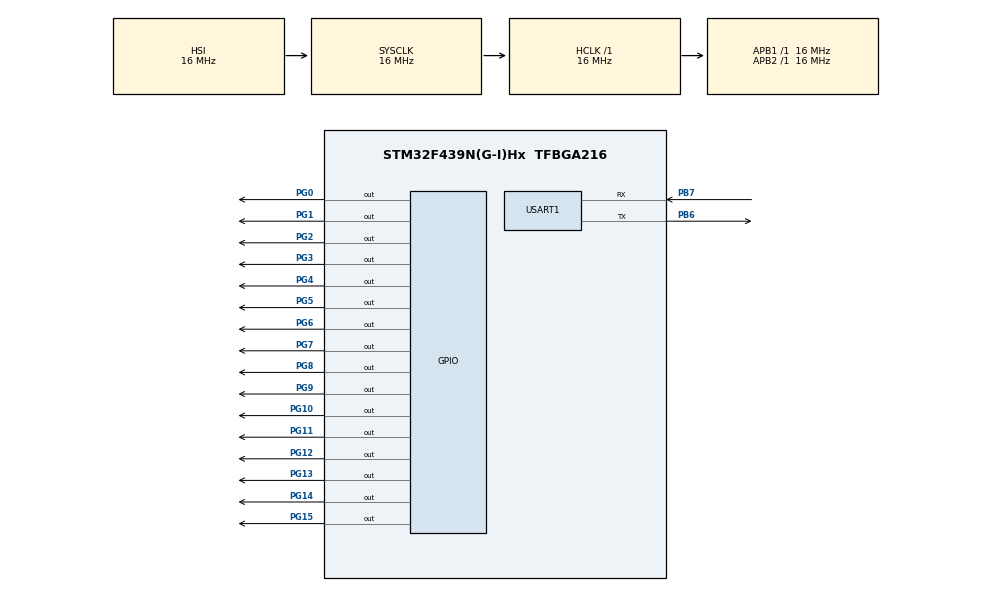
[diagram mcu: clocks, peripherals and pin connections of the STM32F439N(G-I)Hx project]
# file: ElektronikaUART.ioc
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FREERTOS.Tasks01=defaultTask,0,128,StartDefaultTask,Default,NULL
Mcu.Family=STM32F4
Mcu.Name=STM32F439N(G-I)Hx
Mcu.Package=TFBGA216
NVIC.PriorityGroup=NVIC_PRIORITYGROUP_4
PB6.Mode=Asynchronous
PB6.Signal=USART1_TX
PB7.Mode=Asynchronous
PB7.Signal=USART1_RX
PG0.Signal=GPIO_Output
PG1.Signal=GPIO_Output
PG10.Signal=GPIO_Output
PG11.Signal=GPIO_Output
PG12.Signal=GPIO_Output
PG13.Signal=GPIO_Output
PG14.Signal=GPIO_Output
PG15.Signal=GPIO_Output
PG2.Signal=GPIO_Output
PG3.Signal=GPIO_Output
PG4.Signal=GPIO_Output
PG5.Signal=GPIO_Output
PG6.Signal=GPIO_Output
PG7.Signal=GPIO_Output
PG8.Signal=GPIO_Output
PG9.Signal=GPIO_Output
ProjectManager.HeapSize=0x200
ProjectManager.StackSize=0x400
ProjectManager.TargetToolchain=EWARM
RCC.AHBFreq_Value=16000000
RCC.APB1Freq_Value=16000000
RCC.APB2Freq_Value=16000000
RCC.CortexFreq_Value=16000000
RCC.HSE_VALUE=25000000
RCC.HSI_VALUE=16000000
RCC.LSE_VALUE=32768
RCC.SYSCLKFreq_VALUE=16000000
RCC.VCOOutputFreq_Value=192000000
USART1.VirtualMode=VM_ASYNC
VP_FREERTOS_VS_ENABLE.Mode=Enabled
board=ElektronikaUART

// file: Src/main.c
/**
  ******************************************************************************
  * File Name          : main.c
  * Description        : Main program body
  ******************************************************************************
  * This notice applies to any and all portions of this file
  * that are not between comment pairs USER CODE BEGIN and
  * USER CODE END. Other portions of this file, whether
  * inserted by the user or by software development tools
  * are owned by their respective copyright owners.
  *
  * Copyright (c) 2017 STMicroelectronics International N.V.
  * All rights reserved.
  *
  * Redistribution and use in source and binary forms, with or without
  * modification, are permitted, provided that the following conditions are met:
  *
  * 1. Redistribution of source code must retain the above copyright notice,
  *    this list of conditions and the following disclaimer.
  * 2. Redistributions in binary form must reproduce the above copyright notice,
  *    this list of conditions and the following disclaimer in the documentation
  *    and/or other materials provided with the distribution.
  * 3. Neither the name of STMicroelectronics nor the names of other
  *    contributors to this software may be used to endorse or promote products
  *    derived from this software without specific written permission.
  * 4. This software, including modifications and/or derivative works of this
  *    software, must execute solely and exclusively on microcontroller or
  *    microprocessor devices manufactured by or for STMicroelectronics.
  * 5. Redistribution and use of this software other than as permitted under
  *    this license is void and will automatically terminate your rights under
  *    this license.
  *
  * THIS SOFTWARE IS PROVIDED BY STMICROELECTRONICS AND CONTRIBUTORS "AS IS"
  * AND ANY EXPRESS, IMPLIED OR STATUTORY WARRANTIES, INCLUDING, BUT NOT
  * LIMITED TO, THE IMPLIED WARRANTIES OF MERCHANTABILITY, FITNESS FOR A
  * PARTICULAR PURPOSE AND NON-INFRINGEMENT OF THIRD PARTY INTELLECTUAL PROPERTY
  * RIGHTS ARE DISCLAIMED TO THE FULLEST EXTENT PERMITTED BY LAW. IN NO EVENT
  * SHALL STMICROELECTRONICS OR CONTRIBUTORS BE LIABLE FOR ANY DIRECT, INDIRECT,
  * INCIDENTAL, SPECIAL, EXEMPLARY, OR CONSEQUENTIAL DAMAGES (INCLUDING, BUT NOT
  * LIMITED TO, PROCUREMENT OF SUBSTITUTE GOODS OR SERVICES; LOSS OF USE, DATA,
  * OR PROFITS; OR BUSINESS INTERRUPTION) HOWEVER CAUSED AND ON ANY THEORY OF
  * LIABILITY, WHETHER IN CONTRACT, STRICT LIABILITY, OR TORT (INCLUDING
  * NEGLIGENCE OR OTHERWISE) ARISING IN ANY WAY OUT OF THE USE OF THIS SOFTWARE,
  * EVEN IF ADVISED OF THE POSSIBILITY OF SUCH DAMAGE.
  *
  ******************************************************************************
  */
#include "main.h"
#include "stm32f4xx_hal.h"
#include "cmsis_os.h"

UART_HandleTypeDef huart1;

osThreadId defaultTaskHandle;

/* USER CODE BEGIN PV */
/* Private variables ---------------------------------------------------------*/
uint8_t RxBuffer[1],preamble1,preamble2,trailer,redniBrojGPIO, stanjeLSB;

/* USER CODE END PV */

void SystemClock_Config(void);
static void MX_GPIO_Init(void);
static void MX_USART1_UART_Init(void);
void StartDefaultTask(void const * argument);

/* USER CODE BEGIN PFP */
/* Private function prototypes -----------------------------------------------*/

/* USER CODE END PFP */

int main(void)
{

  /* MCU Configuration----------------------------------------------------------*/

  /* Reset of all peripherals, Initializes the Flash interface and the Systick. */
  HAL_Init();

  /* Configure the system clock */
  SystemClock_Config();

  /* Initialize all configured peripherals */
  MX_GPIO_Init();
  MX_USART1_UART_Init();

  /* Create the thread(s) */
  /* definition and creation of defaultTask */
  osThreadDef(defaultTask, StartDefaultTask, osPriorityNormal, 0, 128);
  defaultTaskHandle = osThreadCreate(osThread(defaultTask), NULL);

  /* Start scheduler */
  osKernelStart();

  /* We should never get here as control is now taken by the scheduler */

  /* Infinite loop */
  while (1)
  {
  }

}

/** System Clock Configuration
*/
void SystemClock_Config(void)
{

  RCC_OscInitTypeDef RCC_OscInitStruct;
  RCC_ClkInitTypeDef RCC_ClkInitStruct;

    /**Configure the main internal regulator output voltage
    */
  __HAL_RCC_PWR_CLK_ENABLE();

  __HAL_PWR_VOLTAGESCALING_CONFIG(PWR_REGULATOR_VOLTAGE_SCALE3);

    /**Initializes the CPU, AHB and APB busses clocks
    */
  RCC_OscInitStruct.OscillatorType = RCC_OSCILLATORTYPE_HSI;
  RCC_OscInitStruct.HSIState = RCC_HSI_ON;
  RCC_OscInitStruct.HSICalibrationValue = 16;
  RCC_OscInitStruct.PLL.PLLState = RCC_PLL_NONE;
  if (HAL_RCC_OscConfig(&RCC_OscInitStruct) != HAL_OK)
  {
    _Error_Handler(__FILE__, __LINE__);
  }

    /**Initializes the CPU, AHB and APB busses clocks
    */
  RCC_ClkInitStruct.ClockType = RCC_CLOCKTYPE_HCLK|RCC_CLOCKTYPE_SYSCLK
                              |RCC_CLOCKTYPE_PCLK1|RCC_CLOCKTYPE_PCLK2;
  RCC_ClkInitStruct.SYSCLKSource = RCC_SYSCLKSOURCE_HSI;
  RCC_ClkInitStruct.AHBCLKDivider = RCC_SYSCLK_DIV1;
  RCC_ClkInitStruct.APB1CLKDivider = RCC_HCLK_DIV1;
  RCC_ClkInitStruct.APB2CLKDivider = RCC_HCLK_DIV1;

  if (HAL_RCC_ClockConfig(&RCC_ClkInitStruct, FLASH_LATENCY_0) != HAL_OK)
  {
    _Error_Handler(__FILE__, __LINE__);
  }

    /**Configure the Systick interrupt time
    */
  HAL_SYSTICK_Config(HAL_RCC_GetHCLKFreq()/1000);

    /**Configure the Systick
    */
  HAL_SYSTICK_CLKSourceConfig(SYSTICK_CLKSOURCE_HCLK);

  /* SysTick_IRQn interrupt configuration */
  HAL_NVIC_SetPriority(SysTick_IRQn, 15, 0);
}

/* USART1 init function */
static void MX_USART1_UART_Init(void)
{

  huart1.Instance = USART1;
  huart1.Init.BaudRate = 115200;
  huart1.Init.WordLength = UART_WORDLENGTH_8B;
  huart1.Init.StopBits = UART_STOPBITS_1;
  huart1.Init.Parity = UART_PARITY_NONE;
  huart1.Init.Mode = UART_MODE_TX_RX;
  huart1.Init.HwFlowCtl = UART_HWCONTROL_NONE;
  huart1.Init.OverSampling = UART_OVERSAMPLING_16;
  if (HAL_UART_Init(&huart1) != HAL_OK)
  {
    _Error_Handler(__FILE__, __LINE__);
  }

}

/** Configure pins as
        * Analog
        * Input
        * Output
        * EVENT_OUT
        * EXTI
*/
static void MX_GPIO_Init(void)
{

  GPIO_InitTypeDef GPIO_InitStruct;

  /* GPIO Ports Clock Enable */
  __HAL_RCC_GPIOG_CLK_ENABLE();
  __HAL_RCC_GPIOB_CLK_ENABLE();

  /*Configure GPIO pin Output Level */
  HAL_GPIO_WritePin(GPIOG, GPIO_PIN_14|GPIO_PIN_13|GPIO_PIN_15|GPIO_PIN_11
                          |GPIO_PIN_12|GPIO_PIN_10|GPIO_PIN_9|GPIO_PIN_8
                          |GPIO_PIN_7|GPIO_PIN_6|GPIO_PIN_1|GPIO_PIN_3
                          |GPIO_PIN_2|GPIO_PIN_0|GPIO_PIN_5|GPIO_PIN_4, GPIO_PIN_RESET);

  /*Configure GPIO pins : PG14 PG13 PG15 PG11
                           PG12 PG10 PG9 PG8
                           PG7 PG6 PG1 PG3
                           PG2 PG0 PG5 PG4 */
  GPIO_InitStruct.Pin = GPIO_PIN_14|GPIO_PIN_13|GPIO_PIN_15|GPIO_PIN_11
                          |GPIO_PIN_12|GPIO_PIN_10|GPIO_PIN_9|GPIO_PIN_8
                          |GPIO_PIN_7|GPIO_PIN_6|GPIO_PIN_1|GPIO_PIN_3
                          |GPIO_PIN_2|GPIO_PIN_0|GPIO_PIN_5|GPIO_PIN_4;
  GPIO_InitStruct.Mode = GPIO_MODE_OUTPUT_PP;
  GPIO_InitStruct.Pull = GPIO_NOPULL;
  GPIO_InitStruct.Speed = GPIO_SPEED_FREQ_LOW;
  HAL_GPIO_Init(GPIOG, &GPIO_InitStruct);

}

/* StartDefaultTask function */
void StartDefaultTask(void const * argument)
{

  /* USER CODE BEGIN 5 */
  preamble1=0xAA;
  preamble2=0x55;
  trailer=0xEE;
  /* Infinite loop */
  for(;;)
  {
    HAL_UART_Receive(&huart1, (uint8_t*)RxBuffer, 1,  50);//cita se samo jedan bajt

  if(preamble1 ^ RxBuffer[0])//ukoliko se razlikuju vrace se na pocetak petlje
      continue;
  else{                      //ukoliko su jednaki cita se naredni bajt i ispituje sa preamble2
      HAL_UART_Receive(&huart1, (uint8_t*)RxBuffer, 1, 50);
      if(preamble2 ^ RxBuffer[0])//ukoliko se razlikuju vrace se na pocetak petlje
        continue;
      else{                     //ukoliko su jednaki citaju se naredna dva bajta i bajt po bajt i ;uvaju se informacije
        HAL_UART_Receive(&huart1, (uint8_t*)RxBuffer, 1,  50);
        redniBrojGPIO=RxBuffer[0];
        HAL_UART_Receive(&huart1, (uint8_t*)RxBuffer, 1,  50);
        stanjeLSB=0x01&RxBuffer[0];
        HAL_UART_Receive(&huart1, (uint8_t*)RxBuffer, 1,  50);
        if(trailer ^ RxBuffer[0])//ukoliko se razlikuju vrace se na pocetak petlje i sve pada u vodu, poruka je ipak lažna
        continue;
        else {                  //ukoliko su jednaki poruka je ta;na i pristupa se dodeljivanju vrednosti pina
          if(stanjeLSB){
          switch(redniBrojGPIO){
          case 0: HAL_GPIO_WritePin(GPIOG, GPIO_PIN_0, GPIO_PIN_SET); break;
          case 1: HAL_GPIO_WritePin(GPIOG, GPIO_PIN_0, GPIO_PIN_SET); break;
          case 2: HAL_GPIO_WritePin(GPIOG, GPIO_PIN_0, GPIO_PIN_SET); break;
          case 3: HAL_GPIO_WritePin(GPIOG, GPIO_PIN_0, GPIO_PIN_SET); break;
          case 4: HAL_GPIO_WritePin(GPIOG, GPIO_PIN_0, GPIO_PIN_SET); break;
          case 5: HAL_GPIO_WritePin(GPIOG, GPIO_PIN_0, GPIO_PIN_SET); break;
          case 6: HAL_GPIO_WritePin(GPIOG, GPIO_PIN_0, GPIO_PIN_SET); break;
          case 7: HAL_GPIO_WritePin(GPIOG, GPIO_PIN_0, GPIO_PIN_SET); break;
          case 8: HAL_GPIO_WritePin(GPIOG, GPIO_PIN_0, GPIO_PIN_SET); break;
          case 9: HAL_GPIO_WritePin(GPIOG, GPIO_PIN_0, GPIO_PIN_SET); break;
          case 10: HAL_GPIO_WritePin(GPIOG, GPIO_PIN_0, GPIO_PIN_SET); break;
          case 11: HAL_GPIO_WritePin(GPIOG, GPIO_PIN_0, GPIO_PIN_SET); break;
          case 12: HAL_GPIO_WritePin(GPIOG, GPIO_PIN_0, GPIO_PIN_SET); break;
          case 13: HAL_GPIO_WritePin(GPIOG, GPIO_PIN_0, GPIO_PIN_SET); break;
          case 14: HAL_GPIO_WritePin(GPIOG, GPIO_PIN_0, GPIO_PIN_SET); break;
          case 15: HAL_GPIO_WritePin(GPIOG, GPIO_PIN_0, GPIO_PIN_SET); break;
          default: break;//ukoliko nije nijedan od postojecih GPIO pinova poruka se ignorise
          }
          }
          else{
          switch(redniBrojGPIO){
          case 0: HAL_GPIO_WritePin(GPIOG, GPIO_PIN_0, GPIO_PIN_RESET); break;
          case 1: HAL_GPIO_WritePin(GPIOG, GPIO_PIN_0, GPIO_PIN_RESET); break;
          case 2: HAL_GPIO_WritePin(GPIOG, GPIO_PIN_0, GPIO_PIN_RESET); break;
          case 3: HAL_GPIO_WritePin(GPIOG, GPIO_PIN_0, GPIO_PIN_RESET); break;
          case 4: HAL_GPIO_WritePin(GPIOG, GPIO_PIN_0, GPIO_PIN_RESET); break;
          case 5: HAL_GPIO_WritePin(GPIOG, GPIO_PIN_0, GPIO_PIN_RESET); break;
          case 6: HAL_GPIO_WritePin(GPIOG, GPIO_PIN_0, GPIO_PIN_RESET); break;
          case 7: HAL_GPIO_WritePin(GPIOG, GPIO_PIN_0, GPIO_PIN_RESET); break;
          case 8: HAL_GPIO_WritePin(GPIOG, GPIO_PIN_0, GPIO_PIN_RESET); break;
          case 9: HAL_GPIO_WritePin(GPIOG, GPIO_PIN_0, GPIO_PIN_RESET); break;
          case 10: HAL_GPIO_WritePin(GPIOG, GPIO_PIN_0, GPIO_PIN_RESET); break;
          case 11: HAL_GPIO_WritePin(GPIOG, GPIO_PIN_0, GPIO_PIN_RESET); break;
          case 12: HAL_GPIO_WritePin(GPIOG, GPIO_PIN_0, GPIO_PIN_RESET); break;
          case 13: HAL_GPIO_WritePin(GPIOG, GPIO_PIN_0, GPIO_PIN_RESET); break;
          case 14: HAL_GPIO_WritePin(GPIOG, GPIO_PIN_0, GPIO_PIN_RESET); break;
          case 15: HAL_GPIO_WritePin(GPIOG, GPIO_PIN_0, GPIO_PIN_RESET); break;
          default: break;//ukoliko nije nijedan od postojecih GPIO pinova poruka se ignorise
          }
          }
        }
      }
  }
    osDelay(1);
  }
  /* USER CODE END 5 */
}

void _Error_Handler(char * file, int line)
{
  while(1)
  {
  }
}

/************************ (C) COPYRIGHT STMicroelectronics *****END OF FILE****/
